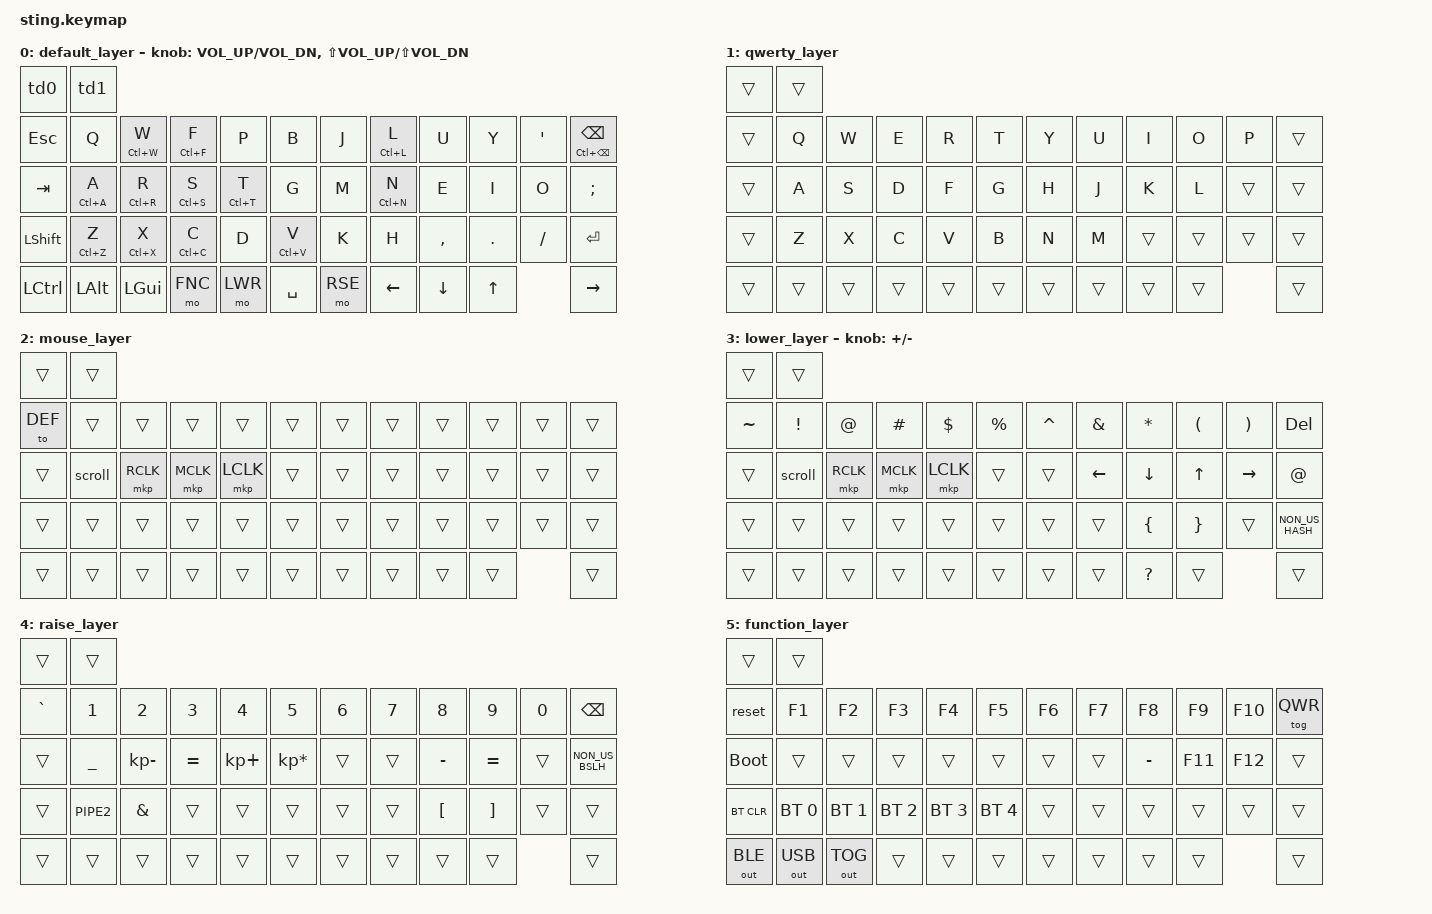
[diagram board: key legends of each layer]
/*
 * Copyright (c) 2022 The ZMK Contributors'
 *
 * SPDX-License-Identifier: MIT
 */

#include <behaviors.dtsi>
#include <dt-bindings/zmk/keys.h>
#include <dt-bindings/zmk/bt.h>
#include <dt-bindings/zmk/outputs.h>
#include <dt-bindings/zmk/mouse.h>

#define DEF 0
#define QWR 1
#define MSE 2
#define LWR 3
#define RSE 4
#define FNC 5

&mt {
    flavor = "tap-preferred";
    tapping_term_ms = <200>;
};

/ {
    macros {
        scroll: scroll {
            label = "ZM_scroll";
            compatible = "zmk,behavior-macro";
            wait-ms = <1>;
            tap-ms = <4>;
            #binding-cells = <0>;
            bindings
                = <&macro_tap &kp KP_NUMLOCK>
                , <&macro_tap &kp KP_NUMLOCK>
                ;
        };
    };

    /*
    * combos {
    *     compatible = "zmk,combos";
    *     combo_lmb {
    *         timeout-ms = <30>;
    *         key-positions = <17 18>;
    *         bindings = <&mkp LCLK>;
    *     };
    *     combo_rmb {
    *         timeout-ms = <30>;
    *         key-positions = <16 17>;
    *         bindings = <&mkp RCLK>;
    *     };
    *     combo_mmb {
    *         timeout-ms = <30>;
    *         key-positions = <16 17 18>;
    *         bindings = <&mkp MCLK>;
    *     };
    *     combo_scroll {
    *         timeout-ms = <20>;
    *         key-positions = <15 16>;
    *         bindings = <&scroll>;
    *     };
    * };
    */

    behaviors {
        td0: tap_dance_0{
            compatible = "zmk,behavior-tap-dance";
            label = "TAP_DANCE_0";
            #binding-cells = <0>;
            tapping-term-ms = <300>;
            bindings = <&kp C_PLAY_PAUSE>, <&kp C_PREV>;
        };
        td1: tap_dance_1 {
            compatible = "zmk,behavior-tap-dance";
            label = "TAP_DANCE_1";
            #binding-cells = <0>;
            tapping-term-ms = <300>;
            bindings = <&kp C_PLAY_PAUSE>, <&kp C_NEXT>;
        };
        mo_to: behavior_mo_to {
            compatible = "zmk,behavior-hold-tap";
            label = "mo_to";
            #binding-cells = <2>;
            flavor = "hold-preferred";
            tapping-term-ms = <200>;
            bindings = <&mo>, <&to>;
        };
    };

    keymap {
        compatible = "zmk,keymap";

        default_layer {
            sensor-bindings = <&inc_dec_kp C_VOL_UP C_VOL_DN &inc_dec_kp LS(C_VOL_UP) LS(C_VOL_DN)>;
            bindings = <
                &td0          &td1
                &kp ESC       &kp Q         &mt LC(W) W  &mt LC(F) F   &kp P            &kp B         &kp J        &mt LC(L) L  &kp U        &kp Y      &kp SQT        &mt LC(BSPC) BSPC  
                &kp TAB       &mt LC(A) A   &mt LC(R) R  &mt LC(S) S   &mt LC(T) T      &kp G         &kp M        &mt LC(N) N  &kp E        &kp I      &kp O          &kp SEMI
                &kp LSHFT     &mt LC(Z) Z   &mt LC(X) X  &mt LC(C) C   &kp D            &mt LC(V) V   &kp K        &kp H        &kp COMMA    &kp DOT    &kp FSLH       &kp ENTER
                &kp LCTRL     &kp LALT      &kp LGUI     &mo FNC       &mo LWR           &kp SPACE          &mo RSE      &kp LEFT     &kp DOWN   &kp UP         &kp RIGHT
            >;
        };

        qwerty_layer {
            bindings = <
                &trans     &trans
                &trans     &kp Q       &kp W       &kp E       &kp R       &kp T       &kp Y       &kp U       &kp I       &kp O     &kp P       &trans  
                &trans     &kp A       &kp S       &kp D       &kp F       &kp G       &kp H       &kp J       &kp K       &kp L     &trans      &trans
                &trans     &kp Z       &kp X       &kp C       &kp V       &kp B       &kp N       &kp M       &trans      &trans    &trans      &trans
                &trans     &trans      &trans      &trans      &trans            &trans            &trans      &trans      &trans      &trans    &trans
            >;
        };

        mouse_layer {
            bindings = <
                &trans      &trans
                &to DEF     &trans      &trans      &trans      &trans      &trans      &trans      &trans      &trans      &trans      &trans        &trans
                &trans      &scroll     &mkp RCLK   &mkp MCLK   &mkp LCLK   &trans      &trans      &trans      &trans      &trans      &trans        &trans
                &trans      &trans      &trans      &trans      &trans      &trans      &trans      &trans      &trans      &trans      &trans        &trans
                &trans      &trans      &trans      &trans      &trans            &trans            &trans      &trans      &trans      &trans        &trans                    
            >;
        };

        lower_layer {
            sensor-bindings = <&inc_dec_kp PLUS MINUS>;
            bindings = <
                &trans      &trans
                &kp TILDE   &kp EXCL    &kp AT      &kp HASH    &kp DLLR    &kp PRCNT   &kp CARET   &kp AMPS    &kp STAR    &kp LPAR    &kp RPAR      &kp DEL
                &trans      &scroll     &mkp RCLK   &mkp MCLK   &mkp LCLK   &trans      &trans      &kp LEFT    &kp DOWN    &kp UP      &kp RIGHT     &kp AT
                &trans      &trans      &trans      &trans      &trans      &trans      &trans      &trans      &kp LBRC    &kp RBRC    &trans        &kp NON_US_HASH
                &trans      &trans      &trans      &trans      &trans            &trans            &trans      &trans      &kp QMARK   &trans        &trans                    
            >;
        };

        raise_layer {
            bindings = <
                &trans     &trans
                &kp GRAVE    &kp N1       &kp N2       &kp N3       &kp N4       &kp N5       &kp N6       &kp N7       &kp N8       &kp N9       &kp N0     &kp BSPC
                &trans       &kp UNDER    &kp KP_MINUS &kp EQUAL    &kp KP_PLUS  &kp KP_MULTIPLY   &trans       &trans       &kp MINUS    &kp EQUAL    &trans     &kp NON_US_BSLH
                &trans       &kp PIPE2    &kp AMPS     &trans       &trans       &trans       &trans       &trans       &kp LBKT     &kp RBKT     &trans     &trans
                &trans       &trans       &trans       &trans       &trans             &trans              &trans       &trans       &trans       &trans     &trans
            >;            
        };

        function_layer {
            bindings = <
                &trans     &trans
                &reset          &kp F1          &kp F2          &kp F3          &kp F4          &kp F5          &kp F6      &kp F7      &kp F8      &kp F9      &kp F10     &tog QWR
                &bootloader     &trans          &trans          &trans          &trans          &trans          &trans      &trans      &kp MINUS   &kp F11     &kp F12     &trans
                &bt BT_CLR      &bt BT_SEL 0    &bt BT_SEL 1    &bt BT_SEL 2    &bt BT_SEL 3    &bt BT_SEL 4    &trans      &trans      &trans      &trans      &trans      &trans
                &out OUT_BLE    &out OUT_USB    &out OUT_TOG    &trans          &trans                     &trans           &trans      &trans      &trans      &trans      &trans
            >;         
        };
    };
};
